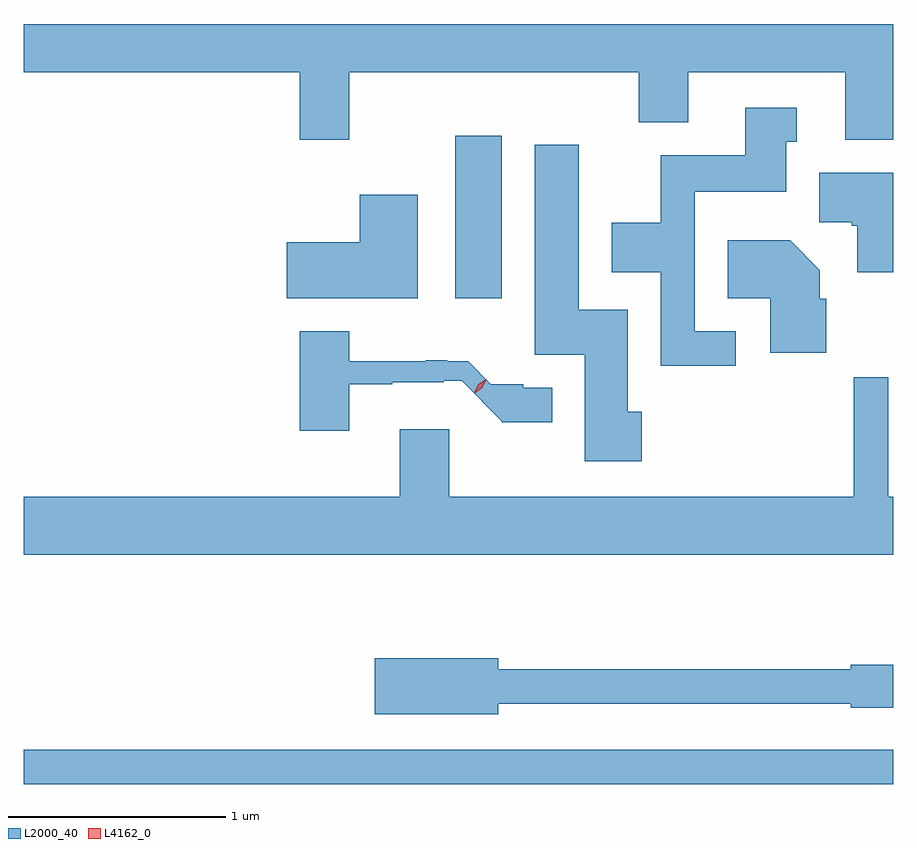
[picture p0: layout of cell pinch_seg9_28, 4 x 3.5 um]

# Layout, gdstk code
import gdstk
lib = gdstk.Library(unit=1e-6, precision=1e-09)
def R(c, l, rs):  # rectangles x0, y0, x1, y1
    for r in rs: c.add(gdstk.rectangle(r[:2], r[2:], *l))
def P(c, l, *ps):  # polygons
    for p in ps: c.add(gdstk.Polygon(p, *l))
L2000_40 = (2000, 40)
L4162_0 = (4162, 0)

pinch_seg9_28 = lib.new_cell('pinch_seg9_28')
R(pinch_seg9_28, L2000_40, [(637.331,2046.261,641.331,2046.419), (639.316,2048.496,639.529,2049.244)])
P(pinch_seg9_28, L2000_40, [(638.829,2049.536),(640.161,2049.536),(640.161,2049.306),(640.389,2049.306),(640.389,2049.536),(641.111,2049.536),(641.111,2049.226),(641.331,2049.226),(641.331,2049.759),(637.331,2049.759),(637.331,2049.536),(638.601,2049.536),(638.601,2049.226),(638.829,2049.226)],
  [(640.608,2048.344),(640.419,2048.344),(640.419,2048.986),(640.839,2048.986),(640.839,2049.216),(640.888,2049.216),(640.888,2049.374),(640.651,2049.374),(640.651,2049.154),(640.261,2049.154),(640.261,2048.844),(640.036,2048.844),(640.036,2048.616),(640.261,2048.616),(640.261,2048.186),(640.608,2048.186)],
  [(640.174,2047.974),(640.109,2047.974),(640.109,2048.444),(639.884,2048.444),(639.884,2049.204),(639.681,2049.204),(639.681,2048.236),(639.911,2048.236),(639.911,2047.746),(640.174,2047.746)],
  [(641.331,2049.074),(640.991,2049.074),(640.991,2048.846),(641.14,2048.846),(641.14,2048.831),(641.166,2048.831),(641.166,2048.616),(641.331,2048.616)],
  [(639.144,2048.974),(638.876,2048.974),(638.876,2048.754),(638.541,2048.754),(638.541,2048.496),(639.144,2048.496)],
  [(641.024,2048.494),(640.994,2048.494),(640.994,2048.626),(640.857,2048.764),(640.571,2048.764),(640.571,2048.496),(640.766,2048.496),(640.766,2048.246),(641.024,2048.246)],
  [(638.829,2048.101),(639.025,2048.101),(639.025,2048.111),(639.262,2048.111),(639.262,2048.116),(639.346,2048.116),(639.53,2047.931),(639.53,2047.926),(639.763,2047.926),(639.763,2048.084),(639.63,2048.084),(639.63,2048.1),(639.48,2048.1),(639.375,2048.206),(639.28,2048.206),(639.28,2048.212),(639.18,2048.212),(639.18,2048.206),(638.829,2048.206),(638.829,2048.344),(638.601,2048.344),(638.601,2047.886),(638.829,2047.886)],
  [(641.331,2047.584),(641.309,2047.584),(641.309,2048.133),(641.151,2048.133),(641.151,2047.584),(639.289,2047.584),(639.289,2047.894),(639.061,2047.894),(639.061,2047.584),(637.331,2047.584),(637.331,2047.316),(641.331,2047.316)],
  [(639.514,2046.631),(641.136,2046.631),(641.136,2046.611),(641.331,2046.611),(641.331,2046.809),(641.136,2046.809),(641.136,2046.789),(639.514,2046.789),(639.514,2046.839),(638.946,2046.839),(638.946,2046.581),(639.514,2046.581)])
P(pinch_seg9_28, L4162_0, [(639.404,2048.059),(639.404,2048.06),(639.424,2048.098),(639.458,2048.123),(639.459,2048.123),(639.459,2048.122),(639.44,2048.084),(639.405,2048.059)],
  [(639.405,2048.067),(639.405,2048.068),(639.421,2048.1),(639.451,2048.12),(639.452,2048.12),(639.452,2048.12),(639.436,2048.087),(639.406,2048.067)])

lib.write_gds('pinch_seg9_28.gds')
